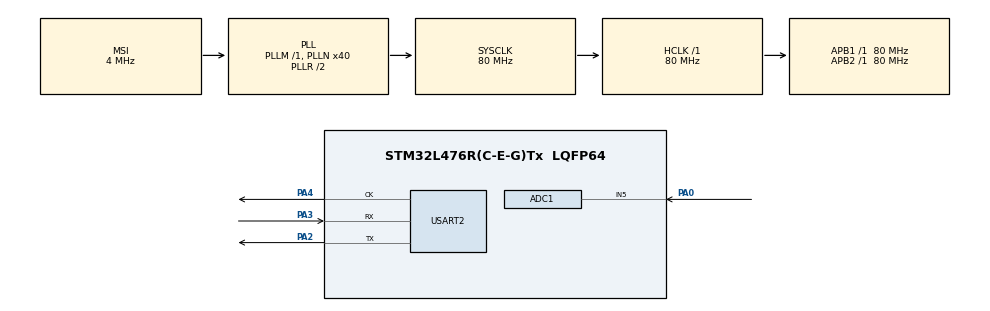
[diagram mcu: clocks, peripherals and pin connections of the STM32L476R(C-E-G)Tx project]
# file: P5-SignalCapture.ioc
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ADC1.Channel-0\#ChannelRegularConversion=ADC_CHANNEL_5
ADC1.ContinuousConvMode=ENABLE
ADC1.DMAContinuousRequests=ENABLE
ADC1.ExternalTrigConv=ADC_EXTERNALTRIG_T4_TRGO
ADC1.NbrOfConversionFlag=1
ADC1.OffsetNumber-0\#ChannelRegularConversion=ADC_OFFSET_NONE
ADC1.Rank-0\#ChannelRegularConversion=1
ADC1.SamplingTime-0\#ChannelRegularConversion=ADC_SAMPLETIME_2CYCLES_5
ADC1.master=1
Dma.ADC1.0.Direction=DMA_PERIPH_TO_MEMORY
Dma.ADC1.0.Instance=DMA1_Channel1
Dma.ADC1.0.MemDataAlignment=DMA_MDATAALIGN_HALFWORD
Dma.ADC1.0.MemInc=DMA_MINC_ENABLE
Dma.ADC1.0.Mode=DMA_CIRCULAR
Dma.ADC1.0.PeriphDataAlignment=DMA_PDATAALIGN_HALFWORD
Dma.ADC1.0.PeriphInc=DMA_PINC_DISABLE
Dma.ADC1.0.Priority=DMA_PRIORITY_LOW
Dma.Request0=ADC1
Mcu.Family=STM32L4
Mcu.Name=STM32L476R(C-E-G)Tx
Mcu.Package=LQFP64
NVIC.DMA1_Channel1_IRQn=true\:0\:0\:false\:false\:true\:false\:true\:true
NVIC.PriorityGroup=NVIC_PRIORITYGROUP_4
PA0.Signal=ADCx_IN5
PA2.Mode=Synchronous
PA2.Signal=USART2_TX
PA3.Mode=Synchronous
PA3.Signal=USART2_RX
PA4.Mode=Synchronous
PA4.Signal=USART2_CK
ProjectManager.HeapSize=0x200
ProjectManager.StackSize=0x400
ProjectManager.TargetToolchain=Makefile
RCC.ADCFreq_Value=32000000
RCC.AHBFreq_Value=80000000
RCC.APB1Freq_Value=80000000
RCC.APB1TimFreq_Value=80000000
RCC.APB2Freq_Value=80000000
RCC.APB2TimFreq_Value=80000000
RCC.CortexFreq_Value=80000000
RCC.HCLKFreq_Value=80000000
RCC.HSE_VALUE=8000000
RCC.HSI_VALUE=16000000
RCC.LSE_VALUE=32768
RCC.MSI_VALUE=4000000
RCC.PLLN=40
RCC.PLLSAI1N=16
RCC.SYSCLKFreq_VALUE=80000000
RCC.SYSCLKSource=RCC_SYSCLKSOURCE_PLLCLK
RCC.USBFreq_Value=32000000
RCC.VCOOutputFreq_Value=160000000
SH.ADCx_IN5.0=ADC1_IN5,IN5-Single-Ended
TIM4.AutoReloadPreload=TIM_AUTORELOAD_PRELOAD_ENABLE
TIM4.Period=7999
TIM4.Prescaler=0
TIM4.TIM_MasterOutputTrigger=TIM_TRGO_UPDATE
TIM4.TIM_MasterSlaveMode=TIM_MASTERSLAVEMODE_DISABLE
USART2.VirtualMode-Synchronous=VM_SYNC
VP_TIM4_VS_ClockSourceINT.Mode=Internal
board=custom

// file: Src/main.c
/* USER CODE BEGIN Header */
/**
 ******************************************************************************
 * @file           : main.c
 * @brief          : Main program body
 ******************************************************************************
 * @attention
 *
 * Copyright (c) 2024 STMicroelectronics.
 * All rights reserved.
 *
 * This software is licensed under terms that can be found in the LICENSE file
 * in the root directory of this software component.
 * If no LICENSE file comes with this software, it is provided AS-IS.
 *
 ******************************************************************************
 */
/* USER CODE END Header */
#include "main.h"
#include "adc.h"
#include "dma.h"
#include "gpio.h"
#include "tim.h"
#include "usart.h"
#include <stdio.h>
#include <string.h>

/* USER CODE BEGIN PTD */

#define ADC_BUF_LEN 20000
/* USER CODE END PTD */

/* USER CODE BEGIN PV */
uint16_t adc_buf[ADC_BUF_LEN];

/* USER CODE END PV */

void SystemClock_Config(void);

/* USER CODE BEGIN 0 */

// Call this function after your ADC and DMA have been initialized and started
/* USER CODE END 0 */

int main(void) {

  /* MCU Configuration--------------------------------------------------------*/

  /* Reset of all peripherals, Initializes the Flash interface and the Systick.
   */
  HAL_Init();

  /* Configure the system clock */
  SystemClock_Config();

  /* Initialize all configured peripherals */
  MX_GPIO_Init();
  MX_DMA_Init();
  MX_ADC1_Init();
  MX_TIM4_Init();
  MX_USART2_Init();
  /* USER CODE BEGIN 2 */
  // Start Timer
  char msg[128];
  HAL_DMA_StateTypeDef dma_state;

  // Print Timer Count
  snprintf(msg, sizeof(msg), "Timer Count: %lu\r\n",
           __HAL_TIM_GET_COUNTER(&htim4));
  HAL_USART_Transmit(&husart2, (uint8_t *)msg, strlen(msg), HAL_MAX_DELAY);

  // Starting the capture
  HAL_TIM_Base_Start(&htim4);
  HAL_ADC_Start_DMA(&hadc1, (uint32_t *)adc_buf, ADC_BUF_LEN);

  // Wait 2 seconds
  HAL_Delay(2000);

  // Print Timer Count
  snprintf(msg, sizeof(msg), "Timer Count: %lu\r\n",
           __HAL_TIM_GET_COUNTER(&htim4));
  HAL_USART_Transmit(&husart2, (uint8_t *)msg, strlen(msg), HAL_MAX_DELAY);

  // Print the ADC buffer
  int i;
  for (i = 0; i < 10; i++) {
    snprintf(msg, sizeof(msg), "ADC Value[%d] = %u\r\n", i, adc_buf[i]);
    HAL_USART_Transmit(&husart2, (uint8_t *)msg, strlen(msg), HAL_MAX_DELAY);
  }

  /* USER CODE END 2 */

  /* Infinite loop */
  while (1) {

  }
}

void SystemClock_Config(void) {
  RCC_OscInitTypeDef RCC_OscInitStruct = {0};
  RCC_ClkInitTypeDef RCC_ClkInitStruct = {0};

  /** Configure the main internal regulator output voltage
   */
  if (HAL_PWREx_ControlVoltageScaling(PWR_REGULATOR_VOLTAGE_SCALE1) != HAL_OK) {
    Error_Handler();
  }

  /** Initializes the RCC Oscillators according to the specified parameters
   * in the RCC_OscInitTypeDef structure.
   */
  RCC_OscInitStruct.OscillatorType = RCC_OSCILLATORTYPE_MSI;
  RCC_OscInitStruct.MSIState = RCC_MSI_ON;
  RCC_OscInitStruct.MSICalibrationValue = 0;
  RCC_OscInitStruct.MSIClockRange = RCC_MSIRANGE_6;
  RCC_OscInitStruct.PLL.PLLState = RCC_PLL_ON;
  RCC_OscInitStruct.PLL.PLLSource = RCC_PLLSOURCE_MSI;
  RCC_OscInitStruct.PLL.PLLM = 1;
  RCC_OscInitStruct.PLL.PLLN = 40;
  RCC_OscInitStruct.PLL.PLLP = RCC_PLLP_DIV7;
  RCC_OscInitStruct.PLL.PLLQ = RCC_PLLQ_DIV2;
  RCC_OscInitStruct.PLL.PLLR = RCC_PLLR_DIV2;
  if (HAL_RCC_OscConfig(&RCC_OscInitStruct) != HAL_OK) {
    Error_Handler();
  }

  /** Initializes the CPU, AHB and APB buses clocks
   */
  RCC_ClkInitStruct.ClockType = RCC_CLOCKTYPE_HCLK | RCC_CLOCKTYPE_SYSCLK |
                                RCC_CLOCKTYPE_PCLK1 | RCC_CLOCKTYPE_PCLK2;
  RCC_ClkInitStruct.SYSCLKSource = RCC_SYSCLKSOURCE_PLLCLK;
  RCC_ClkInitStruct.AHBCLKDivider = RCC_SYSCLK_DIV1;
  RCC_ClkInitStruct.APB1CLKDivider = RCC_HCLK_DIV1;
  RCC_ClkInitStruct.APB2CLKDivider = RCC_HCLK_DIV1;

  if (HAL_RCC_ClockConfig(&RCC_ClkInitStruct, FLASH_LATENCY_4) != HAL_OK) {
    Error_Handler();
  }
}

void Error_Handler(void) {
  __disable_irq();
  while (1) {
  }
}
